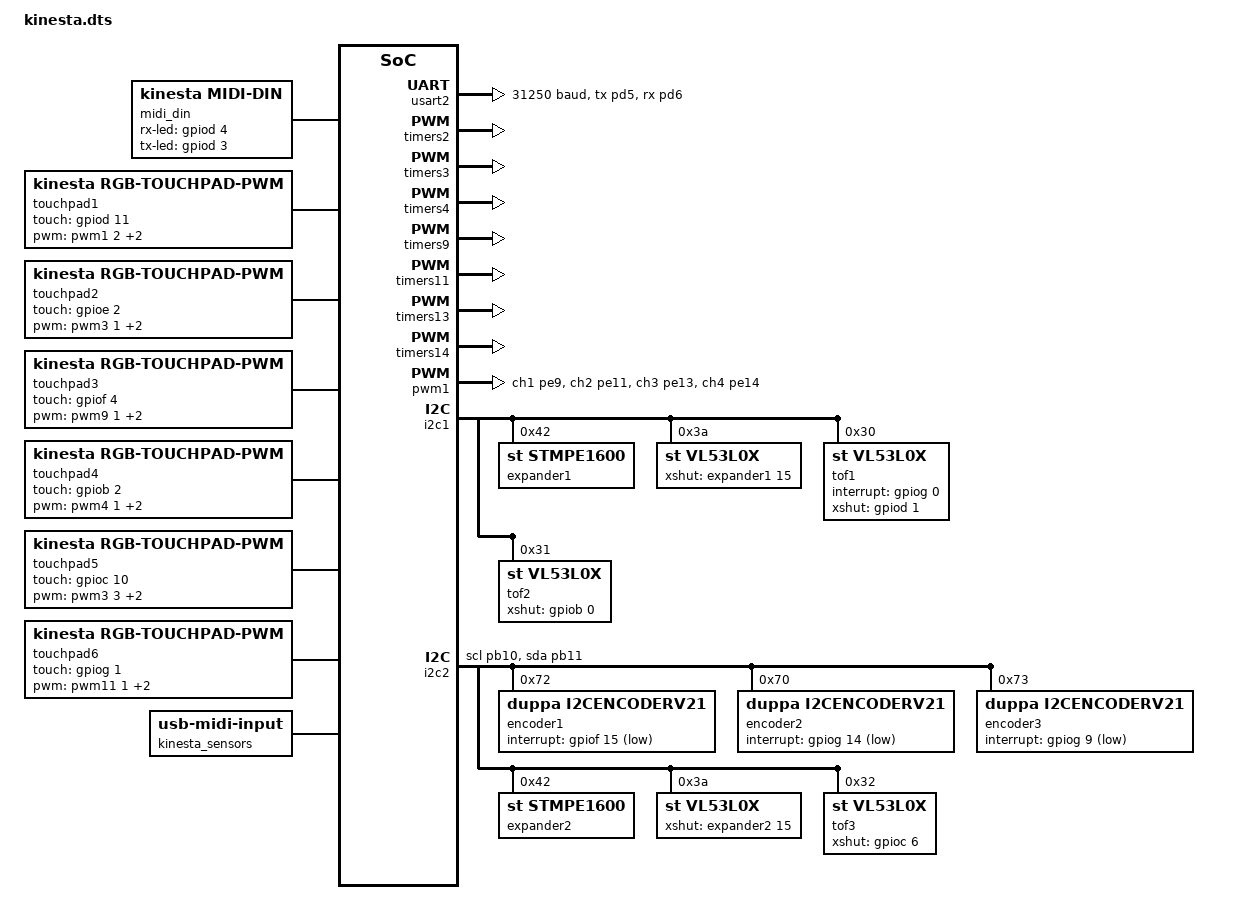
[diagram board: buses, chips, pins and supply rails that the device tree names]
&usart2 {
    status = "okay";
    pinctrl-0 = <&usart2_tx_pd5 &usart2_rx_pd6>;
    pinctrl-names = "default";
    current-speed = <31250>;
};

&timers2 {
    status = "okay";
    st,prescaler = <10000>;

    pwm2: pwm {
        status = "okay";
    };
};

&timers3 {
    status = "okay";
    st,prescaler = <10000>;

    pwm3: pwm {
        status = "okay";
    };
};

&timers4 {
    status = "okay";
    st,prescaler = <10000>;

    pwm4: pwm {
        status = "okay";
    };
};

&timers9 {
    status = "okay";
    st,prescaler = <10000>;

    pwm9: pwm {
        status = "okay";
    };
};

&timers11 {
    status = "okay";
    st,prescaler = <10000>;

    pwm11: pwm {
        status = "okay";
    };
};

&timers13 {
    status = "okay";
    st,prescaler = <10000>;

    pwm13: pwm {
        status = "okay";
    };
};

&timers14 {
    status = "okay";
    st,prescaler = <10000>;

    pwm14: pwm {
        status = "okay";
    };
};

&pwm1 {
    pinctrl-0 = <
        &tim1_ch1_pe9
        &tim1_ch2_pe11
        &tim1_ch3_pe13
        &tim1_ch4_pe14
    >;
    pinctrl-names = "default";
};

&pwm2 {
    pinctrl-0 = <
        &tim2_ch1_pa5
        &tim2_ch4_pa3
    >;
    pinctrl-names = "default";
};

&pwm3 {
    pinctrl-0 = <
        &tim3_ch1_pa6
        &tim3_ch3_pc8
        &tim3_ch4_pc9
    >;
    pinctrl-names = "default";
};

&pwm4 {
    pinctrl-0 = <
        &tim4_ch1_pd12
        &tim4_ch2_pd13
        &tim4_ch3_pd14
        &tim4_ch4_pd15
    >;
    pinctrl-names = "default";
};

&pwm9 {
    pinctrl-0 = <
        &tim9_ch1_pe5
        &tim9_ch2_pe6
    >;
    pinctrl-names = "default";
};

&pwm11 {
    pinctrl-0 = <&tim11_ch1_pf7>;
    pinctrl-names = "default";
};

&pwm13 {
    pinctrl-0 = <&tim13_ch1_pf8>;
    pinctrl-names = "default";
};

&pwm14 {
    pinctrl-0 = <&tim14_ch1_pf9>;
    pinctrl-names = "default";
};

&i2c1 {
    expander1: stmpe1600@42 {
        compatible = "st,stmpe1600";
        reg = <0x42>;
        ngpios = <16>;
        gpio-controller;
        #gpio-cells = <2>;
    };

    vl53l0x@3a {
        compatible = "st,vl53l0x";
        reg = <0x3a>;
        xshut-gpios = <&expander1 15 0>;
    };

    tof1: vl53l0x@30 {
        compatible = "st,vl53l0x";
        reg = <0x30>;
        interrupt-gpios = <&gpiog 0 GPIO_ACTIVE_HIGH>;
        xshut-gpios = <&gpiod 1 GPIO_ACTIVE_HIGH>;
    };

    tof2: vl53l0x@31 {
        compatible = "st,vl53l0x";
        reg = <0x31>;
        // interrupt-gpios = <&gpioe 0 GPIO_ACTIVE_HIGH>;
        xshut-gpios = <&gpiob 0 GPIO_ACTIVE_HIGH>;
    };
};

// Second VL53L0A1 shield on I2C_2
// SCL: PB10
// SDA: PB11
&i2c2 {
    status = "okay";
    pinctrl-0 = <&i2c2_scl_pb10 &i2c2_sda_pb11>;
    pinctrl-names = "default";

    encoder1: encoder@72 {
        compatible = "duppa,i2cencoderv21";
        reg = <0x72>;
        interrupt-gpios = <&gpiof 15 GPIO_ACTIVE_LOW>;
    };

    encoder2: encoder@70 {
        compatible = "duppa,i2cencoderv21";
        reg = <0x70>;
        interrupt-gpios = <&gpiog 14 GPIO_ACTIVE_LOW>;
    };

    encoder3: encoder@73 {
        compatible = "duppa,i2cencoderv21";
        reg = <0x73>;
        interrupt-gpios = <&gpiog 9 GPIO_ACTIVE_LOW>;
    };

    expander2: stmpe1600@42 {
        compatible = "st,stmpe1600";
        reg = <0x42>;
        ngpios = <16>;
        gpio-controller;
        #gpio-cells = <2>;
    };

    vl53l0x@3a {
        compatible = "st,vl53l0x";
        reg = <0x3a>;
        xshut-gpios = <&expander2 15 0>;
    };

    tof3: vl53l0x@32 {
        compatible = "st,vl53l0x";
        reg = <0x32>;
        // interrupt-gpios = <&gpiob 15 GPIO_ACTIVE_HIGH>;
        xshut-gpios = <&gpioc 6 GPIO_ACTIVE_HIGH>;
    };
};

// Disable usart6 (to free up D0/D1)
&usart6 {
    status = "disabled";
};

/ {
    midi_din {
        compatible = "kinesta,midi-din";
        uart = <&usart2>;
        rx-led-gpios = <&gpiod 4 GPIO_ACTIVE_HIGH>;
        tx-led-gpios = <&gpiod 3 GPIO_ACTIVE_HIGH>;
    };

    touchpad1: touchpad_1 {
        compatible = "kinesta,rgb-touchpad-pwm";
        // PD11
        touch-gpios = <&gpiod 11 GPIO_ACTIVE_HIGH>;

        // Red:   PE11 (D5)
        // Green: PE13 (D3)
        // Blue:  PE9 (D6)
        pwm-names = "red", "green", "blue";
        pwms = <&pwm1 2 0 PWM_POLARITY_NORMAL>,
               <&pwm1 3 0 PWM_POLARITY_NORMAL>,
               <&pwm1 1 0 PWM_POLARITY_NORMAL>;
    };

    touchpad2: touchpad_2 {
        compatible = "kinesta,rgb-touchpad-pwm";
        // PE2
        touch-gpios = <&gpioe 2 GPIO_ACTIVE_HIGH>;

        // Red:   PA6 (D12)
        // Green: PD14 (D10)
        // Blue:  PD15 (D9)
        pwm-names = "red", "green", "blue";
        pwms = <&pwm3 1 0 PWM_POLARITY_NORMAL>,
               <&pwm4 3 0 PWM_POLARITY_NORMAL>,
               <&pwm4 4 0 PWM_POLARITY_NORMAL>;
    };

    touchpad3: touchpad_3 {
        compatible = "kinesta,rgb-touchpad-pwm";
        // PF4
        touch-gpios = <&gpiof 4 GPIO_ACTIVE_HIGH>;

        pwm-names = "red", "green", "blue";
        pwms = <&pwm9 1 0 PWM_POLARITY_NORMAL>,
               <&pwm1 4 0 PWM_POLARITY_NORMAL>,
               <&pwm9 2 0 PWM_POLARITY_NORMAL>;
    };

    touchpad4: touchpad_4 {
        compatible = "kinesta,rgb-touchpad-pwm";
        // PB2
        touch-gpios = <&gpiob 2 GPIO_ACTIVE_HIGH>;

        pwm-names = "red", "green", "blue";
        pwms = <&pwm4 1 0 PWM_POLARITY_NORMAL>,
               <&pwm2 1 0 PWM_POLARITY_NORMAL>,
               <&pwm4 2 0 PWM_POLARITY_NORMAL>;
    };

    touchpad5: touchpad_5 {
        compatible = "kinesta,rgb-touchpad-pwm";

        touch-gpios  = <&gpioc 10 GPIO_ACTIVE_HIGH>;
        pwm-names = "red", "green", "blue";
        pwms = <&pwm3 3 0 PWM_POLARITY_NORMAL>,
               <&pwm3 4 0 PWM_POLARITY_NORMAL>,
               <&pwm2 4 0 PWM_POLARITY_NORMAL>;
    };

    touchpad6: touchpad_6 {
        compatible = "kinesta,rgb-touchpad-pwm";

        touch-gpios  = <&gpiog 1 GPIO_ACTIVE_HIGH>;
        pwm-names = "red", "green", "blue";
        pwms = <&pwm11 1 0 PWM_POLARITY_NORMAL>,
               <&pwm14 1 0 PWM_POLARITY_NORMAL>,
               <&pwm13 1 0 PWM_POLARITY_NORMAL>;
    };

    slice1 {
        compatible = "kinesta,functional-block";
        midi-cc-group = <0x10>;

        primary-touchpad = <&touchpad1>;
        secondary-touchpad = <&touchpad2>;
        encoder = <&encoder1>;
        distance-sensor = <&tof1>;
    };

    slice2 {
        compatible = "kinesta,functional-block";
        midi-cc-group = <0x20>;

        primary-touchpad = <&touchpad3>;
        secondary-touchpad = <&touchpad4>;
        encoder = <&encoder2>;
        distance-sensor = <&tof2>;
    };

    slice3 {
        compatible = "kinesta,functional-block";
        midi-cc-group = <0x30>;

        primary-touchpad = <&touchpad5>;
        secondary-touchpad = <&touchpad6>;
        encoder = <&encoder3>;
        distance-sensor = <&tof3>;
    };
};

&zephyr_udc0 {
	kinesta_sensors: kinesta-sensors {
		compatible = "usb-midi-input";
	};

	kinesta_clock: kinesta-clock {
		compatible = "usb-midi-output";
	};
};
